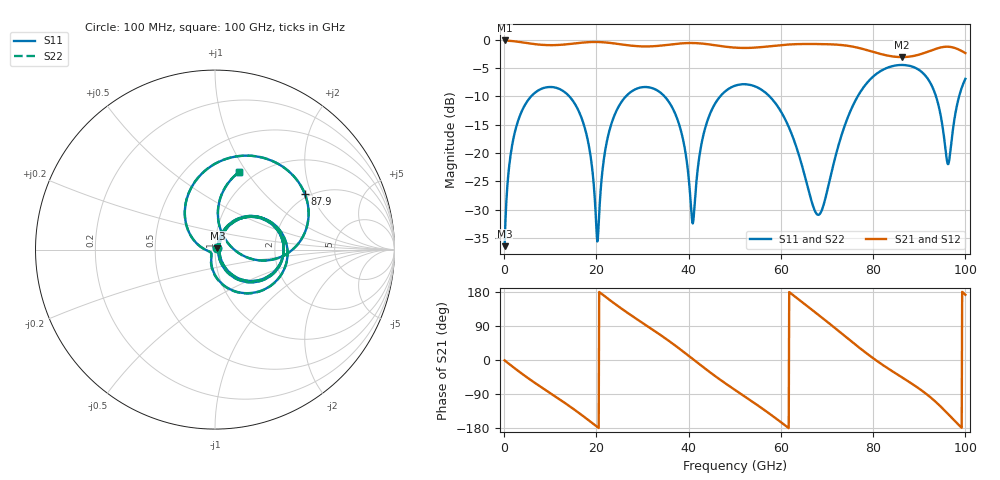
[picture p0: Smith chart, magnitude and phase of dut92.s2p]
! Touchstone file exported from HFSS 2026.1.0
!  File:  C:/ffzhzh/LocalFiles/Ansys_Project_Files/temp_train_TSV_RDL_92_1783453532_41684.aedt
!  Generated:  03:57:01 AM Jul  8, 2026
!  Design:  TSV_RDL
!  Project:  temp_train_TSV_RDL_92_1783453532_41684
! Variables:
!  h_bsmrdl = 3.13um
!  h_ox = 20um
!  h_rdl = 5um
!  h_sub = 81.78um
!  h_tmrdl = 4.48um
!  h_tsv = 81.78um
!  h_via = 3um
!  l_bsmrdl = 245.22um
!  l_sub = 2772.8um
!  l_tmrdl = 381.7um
!  m_sub = 200um
!  pitch = 40.66um
!  r_tsv = 10.58um
!  s_tmrdl = 10um
!  w_bsmrdl = 13.09um
!  w_sub = 500um
!  w_tmrdl = 23.69um
!  x_tsv_center1 = 393.545um
!  x_tsv_center2 = 651.855um
!  x_tsv_center3 = 1057.245um
!  x_tsv_center4 = 1315.555um
!  x_tsv_center5 = 1720.945um
!  x_tsv_center6 = 1979.255um
# GHz S MA R 50.000000
! Terminal data exported
! Port[1] = TM_RDL1_1_T1
! Port[2] = TM_RDL5_1_T1
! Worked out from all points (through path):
!   1000 points, 100 MHz to 100 GHz, reference 50 ohm
!   highest |S21| = -0.11 dB at 100 MHz (marker M1); lowest = -3.1 dB at 86.2 GHz (marker M2)
!   group delay of S21, straight-line fit = 24.8 ps
!   lowest |S11| = -36.4 dB at 100 MHz (marker M3), VSWR 1.03, Z = 51.3 + j0.772 ohm
!   |S11| at or under -10 dB: 14.14 GHz to 26.38 GHz (12.24 GHz wide, 60.4 % of centre); 34.78 GHz to 46.83 GHz (12.05 GHz wide, 29.5 % of centre); 57.55 GHz to 76.64 GHz (19.09 GHz wide, 28.5 % of centre) (the widest 3 of 5)
!   |S22| runs from -36.4 to -4.4 dB; largest |S21 - S12| = 1.7e-14
!   S11 on the Smith chart (normalised r, x): 100 MHz: 1.03, +0.02; 87.9 GHz: 1.88, +1.80; 100 GHz: 0.85, +0.92
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0.1  0.01506 30.0  0.9871 -1.0  0.9871 -1.0  0.01506 30.0
! Gamma 0 0 0 0
! Port Impedance 50 0 50 0
1.8  0.1215 64.3  0.9749 -17.3  0.9749 -17.3  0.1215 64.3
5.1  0.29 38.5  0.9339 -47.1  0.9339 -47.1  0.29 38.5
11.1  0.3787 -8.6  0.8983 -96.4  0.8983 -96.4  0.3787 -8.7
16.8  0.2032 -53.6  0.9435 -145.0  0.9435 -145.0  0.2032 -53.7
20.2  0.01657 -4.2  0.957 -176.6  0.957 -176.6  0.01616 -4.2
24.3  0.2339 50.3  0.924 145.6  0.924 145.6  0.2339 50.4
33.4  0.3531 -20.0  0.8842 70.1  0.8842 70.1  0.3531 -20.0
38.1  0.1701 -55.5  0.9272 28.9  0.9272 28.9  0.1701 -55.5
40.9  0.02387 3.1  0.9368 2.5  0.9368 2.5  0.02426 3.2
44.1  0.1945 54.7  0.9149 -27.6  0.9149 -27.6  0.1946 54.5
50.1  0.3938 8.5  0.8529 -79.5  0.8529 -79.5  0.3938 8.3
60  0.233 -69.9  0.898 -164.0  0.898 -164.0  0.2329 -70.5
66.7  0.03693 -121.7  0.9186 132.8  0.9186 132.8  0.0367 -124.3
71.5  0.0826 168.6  0.9095 86.6  0.9095 86.6  0.08295 168.3
76.4  0.3036 122.6  0.8568 38.3  0.8568 38.3  0.3038 122.7
83.4  0.5729 64.2  0.7223 -23.7  0.7223 -23.7  0.573 64.3
86.2  0.5998 44.0  0.7038 -45.5  0.7038 -45.5  0.5998 44.0
87.9  0.5891 31.9  0.7109 -58.7  0.7109 -58.7  0.5892 32.0
93.1  0.3627 -6.9  0.8194 -105.4  0.8194 -105.4  0.3626 -6.9
96.2  0.07992 31.8  0.8692 -142.0  0.8692 -142.0  0.07933 31.9
100  0.4524 72.7  0.7635 172.1  0.7635 172.1  0.4524 72.8
